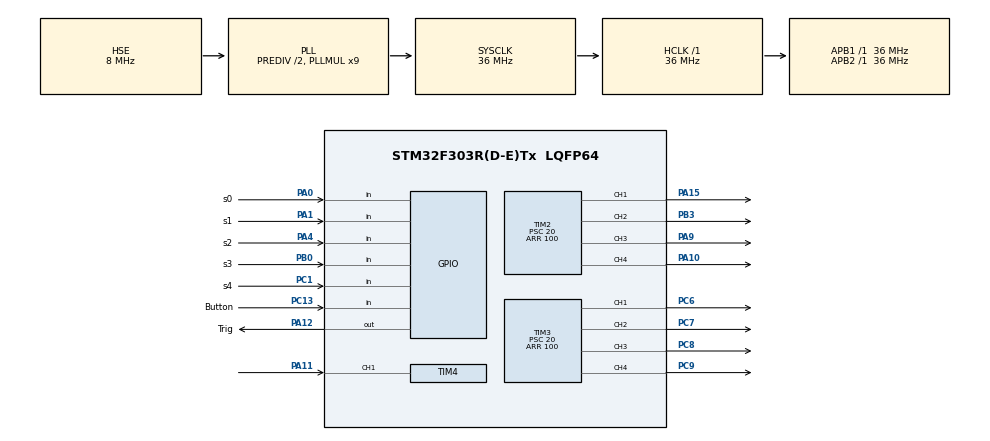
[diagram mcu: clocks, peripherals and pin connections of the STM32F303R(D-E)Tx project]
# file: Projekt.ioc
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Mcu.Family=STM32F3
Mcu.Name=STM32F303R(D-E)Tx
Mcu.Package=LQFP64
NVIC.PriorityGroup=NVIC_PRIORITYGROUP_4
NVIC.TIM1_BRK_TIM15_IRQn=true\:0\:0\:false\:false\:true\:true\:true\:true
NVIC.TIM4_IRQn=true\:0\:0\:false\:false\:true\:true\:true\:true
PA0.GPIO_Label=s0
PA0.Signal=GPIO_Input
PA1.GPIO_Label=s1
PA1.Signal=GPIO_Input
PA10.Signal=S_TIM2_CH4
PA11.Signal=S_TIM4_CH1
PA12.GPIO_Label=Trig
PA12.GPIO_Speed=GPIO_SPEED_FREQ_HIGH
PA12.Signal=GPIO_Output
PA15.Signal=S_TIM2_CH1_ETR
PA4.GPIO_Label=s2
PA4.Signal=GPIO_Input
PA9.Signal=S_TIM2_CH3
PB0.GPIO_Label=s3
PB0.Signal=GPIO_Input
PB3.Signal=S_TIM2_CH2
PC1.GPIO_Label=s4
PC1.Signal=GPIO_Input
PC13.GPIO_Label=Button
PC13.Signal=GPIO_Input
PC6.Signal=S_TIM3_CH1
PC7.Signal=S_TIM3_CH2
PC8.Signal=S_TIM3_CH3
PC9.Signal=S_TIM3_CH4
PF0-OSC_IN.Mode=HSE-External-Oscillator
PF0-OSC_IN.Signal=RCC_OSC_IN
PF1-OSC_OUT.Mode=HSE-External-Oscillator
PF1-OSC_OUT.Signal=RCC_OSC_OUT
ProjectManager.HeapSize=0x200
ProjectManager.StackSize=0x400
ProjectManager.TargetToolchain=STM32CubeIDE
RCC.AHBFreq_Value=36000000
RCC.APB1Freq_Value=36000000
RCC.APB1TimFreq_Value=36000000
RCC.APB2Freq_Value=36000000
RCC.APB2TimFreq_Value=36000000
RCC.CortexFreq_Value=36000000
RCC.HCLKFreq_Value=36000000
RCC.HSE_VALUE=8000000
RCC.HSI_VALUE=8000000
RCC.LSE_VALUE=32768
RCC.PLLDivider=RCC_PREDIV_DIV2
RCC.PLLMUL=RCC_PLL_MUL9
RCC.PLLSourceVirtual=RCC_PLLSOURCE_HSE
RCC.SYSCLKFreq_VALUE=36000000
RCC.SYSCLKSourceVirtual=RCC_SYSCLKSOURCE_PLLCLK
RCC.USBFreq_Value=36000000
SH.S_TIM2_CH1_ETR.0=TIM2_CH1,PWM Generation1 CH1
SH.S_TIM2_CH2.0=TIM2_CH2,PWM Generation2 CH2
SH.S_TIM2_CH3.0=TIM2_CH3,PWM Generation3 CH3
SH.S_TIM2_CH4.0=TIM2_CH4,PWM Generation4 CH4
SH.S_TIM3_CH1.0=TIM3_CH1,PWM Generation1 CH1
SH.S_TIM3_CH2.0=TIM3_CH2,PWM Generation2 CH2
SH.S_TIM3_CH3.0=TIM3_CH3,PWM Generation3 CH3
SH.S_TIM3_CH4.0=TIM3_CH4,PWM Generation4 CH4
SH.S_TIM4_CH1.0=TIM4_CH1,Input_Capture1_from_TI1
TIM15.Period=36
TIM15.Prescaler=2
TIM2.Channel-PWM\ Generation1\ CH1=TIM_CHANNEL_1
TIM2.Channel-PWM\ Generation2\ CH2=TIM_CHANNEL_2
TIM2.Channel-PWM\ Generation3\ CH3=TIM_CHANNEL_3
TIM2.Channel-PWM\ Generation4\ CH4=TIM_CHANNEL_4
TIM2.Period=100
TIM2.Prescaler=20
TIM3.Channel-PWM\ Generation1\ CH1=TIM_CHANNEL_1
TIM3.Channel-PWM\ Generation2\ CH2=TIM_CHANNEL_2
TIM3.Channel-PWM\ Generation3\ CH3=TIM_CHANNEL_3
TIM3.Channel-PWM\ Generation4\ CH4=TIM_CHANNEL_4
TIM3.Period=100
TIM3.Prescaler=20
TIM4.Channel-Input_Capture1_from_TI1=TIM_CHANNEL_1
TIM4.ICPolarity_CH1=TIM_INPUTCHANNELPOLARITY_BOTHEDGE
TIM4.Period=10000
TIM4.Prescaler=36
VP_TIM15_VS_ClockSourceINT.Mode=Internal
VP_TIM1_VS_ClockSourceINT.Mode=Internal
VP_TIM2_VS_ClockSourceINT.Mode=Internal
VP_TIM3_VS_ClockSourceINT.Mode=Internal
VP_TIM4_VS_ClockSourceINT.Mode=Internal
board=custom

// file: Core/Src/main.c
/* USER CODE BEGIN Header */
/**
  ******************************************************************************
  * @file           : main.c
  * @brief          : Main program body
  ******************************************************************************
  * @attention
  *
  * Copyright (c) 2025 STMicroelectronics.
  * All rights reserved.
  *
  * This software is licensed under terms that can be found in the LICENSE file
  * in the root directory of this software component.
  * If no LICENSE file comes with this software, it is provided AS-IS.
  *
  ******************************************************************************
  */
/* USER CODE END Header */
#include "main.h"

TIM_HandleTypeDef htim1;
TIM_HandleTypeDef htim2;
TIM_HandleTypeDef htim3;
TIM_HandleTypeDef htim4;
TIM_HandleTypeDef htim15;

/* USER CODE BEGIN PV */
int input_capture;
/* USER CODE END PV */

void SystemClock_Config(void);
static void MX_GPIO_Init(void);
static void MX_TIM3_Init(void);
static void MX_TIM2_Init(void);
static void MX_TIM4_Init(void);
static void MX_TIM1_Init(void);
static void MX_TIM15_Init(void);
/* USER CODE BEGIN PFP */
void HAL_TIM_IC_CaptureCallback(TIM_HandleTypeDef *htim)
{
	if (htim->Instance==TIM4)
		{
         input_capture= __HAL_TIM_GetCompare(&htim4, TIM_CHANNEL_1);	//czyatj TIM2 channel 3 capture value
		__HAL_TIM_SetCounter(&htim4, 0);	//reset licznika po przerwaniu
		}
}

/* USER CODE END PFP */

int main(void)
{

  /* MCU Configuration--------------------------------------------------------*/

  /* Reset of all peripherals, Initializes the Flash interface and the Systick. */
  HAL_Init();

  /* Configure the system clock */
  SystemClock_Config();

  /* Initialize all configured peripherals */
  MX_GPIO_Init();
  MX_TIM3_Init();
  MX_TIM2_Init();
  MX_TIM4_Init();
  MX_TIM1_Init();
  MX_TIM15_Init();
  /* USER CODE BEGIN 2 */
  HAL_TIM_PWM_Start(&htim2, TIM_CHANNEL_1);
  HAL_TIM_PWM_Start(&htim2, TIM_CHANNEL_2);
  HAL_TIM_PWM_Start(&htim2, TIM_CHANNEL_3);
  HAL_TIM_PWM_Start(&htim2, TIM_CHANNEL_4);
  HAL_TIM_PWM_Start(&htim3, TIM_CHANNEL_1);
  HAL_TIM_PWM_Start(&htim3, TIM_CHANNEL_2);
  HAL_TIM_PWM_Start(&htim3, TIM_CHANNEL_3);
  HAL_TIM_PWM_Start(&htim3, TIM_CHANNEL_4);

  HAL_TIM_IC_Start_IT(&htim4, TIM_CHANNEL_1); //Start przerwan
  HAL_TIM_Base_Start_IT(&htim15); // uruchomienie TRIG

  /* USER CODE END 2 */

  /* Infinite loop */
  /* USER CODE BEGIN WHILE */

uint8_t stan;
  while (1)
  {
	  if(!HAL_GPIO_ReadPin(Button_GPIO_Port, Button_Pin)){
		  stan^=1;
	  }

	  if((input_capture/58) <= 10){ // input/58 = [cm]
	  		  stan=0; // stop
	  }
	  if(stan==0){
		  TIM2 -> CCR1 = 100;
		  TIM2 -> CCR2 = 100;
		  TIM2 -> CCR3 = 100;
		  TIM2 -> CCR4 = 100;
		  TIM3 -> CCR1 = 100;
		  TIM3 -> CCR2 = 100;
		  TIM3 -> CCR3 = 100;
		  TIM3 -> CCR4 = 100;
	  }
	  if(stan==1){
		  TIM2 -> CCR1 = 100;
		  TIM2 -> CCR2 = 100           ;
		  TIM2 -> CCR3 = 100 - 90;
		  TIM2 -> CCR4 = 100;
		  TIM3 -> CCR1 = 100 - 90;
		  TIM3 -> CCR2 = 100;
		  TIM3 -> CCR3 = 100;
		  TIM3 -> CCR4 = 100 - 90;
	  }
	  if((input_capture/58) <= 10){ // input/58 = [cm]
	  		  stan=0; // stop
	  }

    /* USER CODE END WHILE */

  }
}

void SystemClock_Config(void)
{
  RCC_OscInitTypeDef RCC_OscInitStruct = {0};
  RCC_ClkInitTypeDef RCC_ClkInitStruct = {0};
  RCC_PeriphCLKInitTypeDef PeriphClkInit = {0};

  /** Initializes the RCC Oscillators according to the specified parameters
  * in the RCC_OscInitTypeDef structure.
  */
  RCC_OscInitStruct.OscillatorType = RCC_OSCILLATORTYPE_HSE;
  RCC_OscInitStruct.HSEState = RCC_HSE_ON;
  RCC_OscInitStruct.HSIState = RCC_HSI_ON;
  RCC_OscInitStruct.PLL.PLLState = RCC_PLL_ON;
  RCC_OscInitStruct.PLL.PLLSource = RCC_PLLSOURCE_HSE;
  RCC_OscInitStruct.PLL.PLLMUL = RCC_PLL_MUL9;
  RCC_OscInitStruct.PLL.PREDIV = RCC_PREDIV_DIV2;
  if (HAL_RCC_OscConfig(&RCC_OscInitStruct) != HAL_OK)
  {
    Error_Handler();
  }

  /** Initializes the CPU, AHB and APB buses clocks
  */
  RCC_ClkInitStruct.ClockType = RCC_CLOCKTYPE_HCLK|RCC_CLOCKTYPE_SYSCLK
                              |RCC_CLOCKTYPE_PCLK1|RCC_CLOCKTYPE_PCLK2;
  RCC_ClkInitStruct.SYSCLKSource = RCC_SYSCLKSOURCE_PLLCLK;
  RCC_ClkInitStruct.AHBCLKDivider = RCC_SYSCLK_DIV1;
  RCC_ClkInitStruct.APB1CLKDivider = RCC_HCLK_DIV1;
  RCC_ClkInitStruct.APB2CLKDivider = RCC_HCLK_DIV1;

  if (HAL_RCC_ClockConfig(&RCC_ClkInitStruct, FLASH_LATENCY_1) != HAL_OK)
  {
    Error_Handler();
  }
  PeriphClkInit.PeriphClockSelection = RCC_PERIPHCLK_TIM1|RCC_PERIPHCLK_TIM15
                              |RCC_PERIPHCLK_TIM2|RCC_PERIPHCLK_TIM34;
  PeriphClkInit.Tim1ClockSelection = RCC_TIM1CLK_HCLK;
  PeriphClkInit.Tim15ClockSelection = RCC_TIM15CLK_HCLK;
  PeriphClkInit.Tim2ClockSelection = RCC_TIM2CLK_HCLK;
  PeriphClkInit.Tim34ClockSelection = RCC_TIM34CLK_HCLK;
  if (HAL_RCCEx_PeriphCLKConfig(&PeriphClkInit) != HAL_OK)
  {
    Error_Handler();
  }
}

static void MX_TIM1_Init(void)
{

  TIM_ClockConfigTypeDef sClockSourceConfig = {0};
  TIM_MasterConfigTypeDef sMasterConfig = {0};

  htim1.Instance = TIM1;
  htim1.Init.Prescaler = 0;
  htim1.Init.CounterMode = TIM_COUNTERMODE_UP;
  htim1.Init.Period = 65535;
  htim1.Init.ClockDivision = TIM_CLOCKDIVISION_DIV1;
  htim1.Init.RepetitionCounter = 0;
  htim1.Init.AutoReloadPreload = TIM_AUTORELOAD_PRELOAD_DISABLE;
  if (HAL_TIM_Base_Init(&htim1) != HAL_OK)
  {
    Error_Handler();
  }
  sClockSourceConfig.ClockSource = TIM_CLOCKSOURCE_INTERNAL;
  if (HAL_TIM_ConfigClockSource(&htim1, &sClockSourceConfig) != HAL_OK)
  {
    Error_Handler();
  }
  sMasterConfig.MasterOutputTrigger = TIM_TRGO_RESET;
  sMasterConfig.MasterOutputTrigger2 = TIM_TRGO2_RESET;
  sMasterConfig.MasterSlaveMode = TIM_MASTERSLAVEMODE_DISABLE;
  if (HAL_TIMEx_MasterConfigSynchronization(&htim1, &sMasterConfig) != HAL_OK)
  {
    Error_Handler();
  }

}

static void MX_TIM2_Init(void)
{

  TIM_ClockConfigTypeDef sClockSourceConfig = {0};
  TIM_MasterConfigTypeDef sMasterConfig = {0};
  TIM_OC_InitTypeDef sConfigOC = {0};

  htim2.Instance = TIM2;
  htim2.Init.Prescaler = 20;
  htim2.Init.CounterMode = TIM_COUNTERMODE_UP;
  htim2.Init.Period = 100;
  htim2.Init.ClockDivision = TIM_CLOCKDIVISION_DIV1;
  htim2.Init.AutoReloadPreload = TIM_AUTORELOAD_PRELOAD_DISABLE;
  if (HAL_TIM_Base_Init(&htim2) != HAL_OK)
  {
    Error_Handler();
  }
  sClockSourceConfig.ClockSource = TIM_CLOCKSOURCE_INTERNAL;
  if (HAL_TIM_ConfigClockSource(&htim2, &sClockSourceConfig) != HAL_OK)
  {
    Error_Handler();
  }
  if (HAL_TIM_PWM_Init(&htim2) != HAL_OK)
  {
    Error_Handler();
  }
  sMasterConfig.MasterOutputTrigger = TIM_TRGO_RESET;
  sMasterConfig.MasterSlaveMode = TIM_MASTERSLAVEMODE_DISABLE;
  if (HAL_TIMEx_MasterConfigSynchronization(&htim2, &sMasterConfig) != HAL_OK)
  {
    Error_Handler();
  }
  sConfigOC.OCMode = TIM_OCMODE_PWM1;
  sConfigOC.Pulse = 0;
  sConfigOC.OCPolarity = TIM_OCPOLARITY_HIGH;
  sConfigOC.OCFastMode = TIM_OCFAST_DISABLE;
  if (HAL_TIM_PWM_ConfigChannel(&htim2, &sConfigOC, TIM_CHANNEL_1) != HAL_OK)
  {
    Error_Handler();
  }
  if (HAL_TIM_PWM_ConfigChannel(&htim2, &sConfigOC, TIM_CHANNEL_2) != HAL_OK)
  {
    Error_Handler();
  }
  if (HAL_TIM_PWM_ConfigChannel(&htim2, &sConfigOC, TIM_CHANNEL_3) != HAL_OK)
  {
    Error_Handler();
  }
  if (HAL_TIM_PWM_ConfigChannel(&htim2, &sConfigOC, TIM_CHANNEL_4) != HAL_OK)
  {
    Error_Handler();
  }
  HAL_TIM_MspPostInit(&htim2);

}

static void MX_TIM3_Init(void)
{

  TIM_ClockConfigTypeDef sClockSourceConfig = {0};
  TIM_MasterConfigTypeDef sMasterConfig = {0};
  TIM_OC_InitTypeDef sConfigOC = {0};

  htim3.Instance = TIM3;
  htim3.Init.Prescaler = 20;
  htim3.Init.CounterMode = TIM_COUNTERMODE_UP;
  htim3.Init.Period = 100;
  htim3.Init.ClockDivision = TIM_CLOCKDIVISION_DIV1;
  htim3.Init.AutoReloadPreload = TIM_AUTORELOAD_PRELOAD_DISABLE;
  if (HAL_TIM_Base_Init(&htim3) != HAL_OK)
  {
    Error_Handler();
  }
  sClockSourceConfig.ClockSource = TIM_CLOCKSOURCE_INTERNAL;
  if (HAL_TIM_ConfigClockSource(&htim3, &sClockSourceConfig) != HAL_OK)
  {
    Error_Handler();
  }
  if (HAL_TIM_PWM_Init(&htim3) != HAL_OK)
  {
    Error_Handler();
  }
  sMasterConfig.MasterOutputTrigger = TIM_TRGO_RESET;
  sMasterConfig.MasterSlaveMode = TIM_MASTERSLAVEMODE_DISABLE;
  if (HAL_TIMEx_MasterConfigSynchronization(&htim3, &sMasterConfig) != HAL_OK)
  {
    Error_Handler();
  }
  sConfigOC.OCMode = TIM_OCMODE_PWM1;
  sConfigOC.Pulse = 0;
  sConfigOC.OCPolarity = TIM_OCPOLARITY_HIGH;
  sConfigOC.OCFastMode = TIM_OCFAST_DISABLE;
  if (HAL_TIM_PWM_ConfigChannel(&htim3, &sConfigOC, TIM_CHANNEL_1) != HAL_OK)
  {
    Error_Handler();
  }
  if (HAL_TIM_PWM_ConfigChannel(&htim3, &sConfigOC, TIM_CHANNEL_2) != HAL_OK)
  {
    Error_Handler();
  }
  if (HAL_TIM_PWM_ConfigChannel(&htim3, &sConfigOC, TIM_CHANNEL_3) != HAL_OK)
  {
    Error_Handler();
  }
  if (HAL_TIM_PWM_ConfigChannel(&htim3, &sConfigOC, TIM_CHANNEL_4) != HAL_OK)
  {
    Error_Handler();
  }
  HAL_TIM_MspPostInit(&htim3);

}

static void MX_TIM4_Init(void)
{

  TIM_ClockConfigTypeDef sClockSourceConfig = {0};
  TIM_MasterConfigTypeDef sMasterConfig = {0};
  TIM_IC_InitTypeDef sConfigIC = {0};

  htim4.Instance = TIM4;
  htim4.Init.Prescaler = 36;
  htim4.Init.CounterMode = TIM_COUNTERMODE_UP;
  htim4.Init.Period = 10000;
  htim4.Init.ClockDivision = TIM_CLOCKDIVISION_DIV1;
  htim4.Init.AutoReloadPreload = TIM_AUTORELOAD_PRELOAD_DISABLE;
  if (HAL_TIM_Base_Init(&htim4) != HAL_OK)
  {
    Error_Handler();
  }
  sClockSourceConfig.ClockSource = TIM_CLOCKSOURCE_INTERNAL;
  if (HAL_TIM_ConfigClockSource(&htim4, &sClockSourceConfig) != HAL_OK)
  {
    Error_Handler();
  }
  if (HAL_TIM_IC_Init(&htim4) != HAL_OK)
  {
    Error_Handler();
  }
  sMasterConfig.MasterOutputTrigger = TIM_TRGO_RESET;
  sMasterConfig.MasterSlaveMode = TIM_MASTERSLAVEMODE_DISABLE;
  if (HAL_TIMEx_MasterConfigSynchronization(&htim4, &sMasterConfig) != HAL_OK)
  {
    Error_Handler();
  }
  sConfigIC.ICPolarity = TIM_INPUTCHANNELPOLARITY_BOTHEDGE;
  sConfigIC.ICSelection = TIM_ICSELECTION_DIRECTTI;
  sConfigIC.ICPrescaler = TIM_ICPSC_DIV1;
  sConfigIC.ICFilter = 0;
  if (HAL_TIM_IC_ConfigChannel(&htim4, &sConfigIC, TIM_CHANNEL_1) != HAL_OK)
  {
    Error_Handler();
  }

}

static void MX_TIM15_Init(void)
{

  TIM_ClockConfigTypeDef sClockSourceConfig = {0};
  TIM_MasterConfigTypeDef sMasterConfig = {0};

  htim15.Instance = TIM15;
  htim15.Init.Prescaler = 2;
  htim15.Init.CounterMode = TIM_COUNTERMODE_UP;
  htim15.Init.Period = 36;
  htim15.Init.ClockDivision = TIM_CLOCKDIVISION_DIV1;
  htim15.Init.RepetitionCounter = 0;
  htim15.Init.AutoReloadPreload = TIM_AUTORELOAD_PRELOAD_DISABLE;
  if (HAL_TIM_Base_Init(&htim15) != HAL_OK)
  {
    Error_Handler();
  }
  sClockSourceConfig.ClockSource = TIM_CLOCKSOURCE_INTERNAL;
  if (HAL_TIM_ConfigClockSource(&htim15, &sClockSourceConfig) != HAL_OK)
  {
    Error_Handler();
  }
  sMasterConfig.MasterOutputTrigger = TIM_TRGO_RESET;
  sMasterConfig.MasterSlaveMode = TIM_MASTERSLAVEMODE_DISABLE;
  if (HAL_TIMEx_MasterConfigSynchronization(&htim15, &sMasterConfig) != HAL_OK)
  {
    Error_Handler();
  }

}

static void MX_GPIO_Init(void)
{
  GPIO_InitTypeDef GPIO_InitStruct = {0};

  /* GPIO Ports Clock Enable */
  __HAL_RCC_GPIOC_CLK_ENABLE();
  __HAL_RCC_GPIOF_CLK_ENABLE();
  __HAL_RCC_GPIOA_CLK_ENABLE();
  __HAL_RCC_GPIOB_CLK_ENABLE();

  /*Configure GPIO pin Output Level */
  HAL_GPIO_WritePin(Trig_GPIO_Port, Trig_Pin, GPIO_PIN_RESET);

  /*Configure GPIO pins : Button_Pin s4_Pin */
  GPIO_InitStruct.Pin = Button_Pin|s4_Pin;
  GPIO_InitStruct.Mode = GPIO_MODE_INPUT;
  GPIO_InitStruct.Pull = GPIO_NOPULL;
  HAL_GPIO_Init(GPIOC, &GPIO_InitStruct);

  /*Configure GPIO pins : s0_Pin s1_Pin s2_Pin */
  GPIO_InitStruct.Pin = s0_Pin|s1_Pin|s2_Pin;
  GPIO_InitStruct.Mode = GPIO_MODE_INPUT;
  GPIO_InitStruct.Pull = GPIO_NOPULL;
  HAL_GPIO_Init(GPIOA, &GPIO_InitStruct);

  /*Configure GPIO pin : s3_Pin */
  GPIO_InitStruct.Pin = s3_Pin;
  GPIO_InitStruct.Mode = GPIO_MODE_INPUT;
  GPIO_InitStruct.Pull = GPIO_NOPULL;
  HAL_GPIO_Init(s3_GPIO_Port, &GPIO_InitStruct);

  /*Configure GPIO pin : Trig_Pin */
  GPIO_InitStruct.Pin = Trig_Pin;
  GPIO_InitStruct.Mode = GPIO_MODE_OUTPUT_PP;
  GPIO_InitStruct.Pull = GPIO_NOPULL;
  GPIO_InitStruct.Speed = GPIO_SPEED_FREQ_HIGH;
  HAL_GPIO_Init(Trig_GPIO_Port, &GPIO_InitStruct);

}

void Error_Handler(void)
{
  __disable_irq();
  while (1)
  {
  }
}
